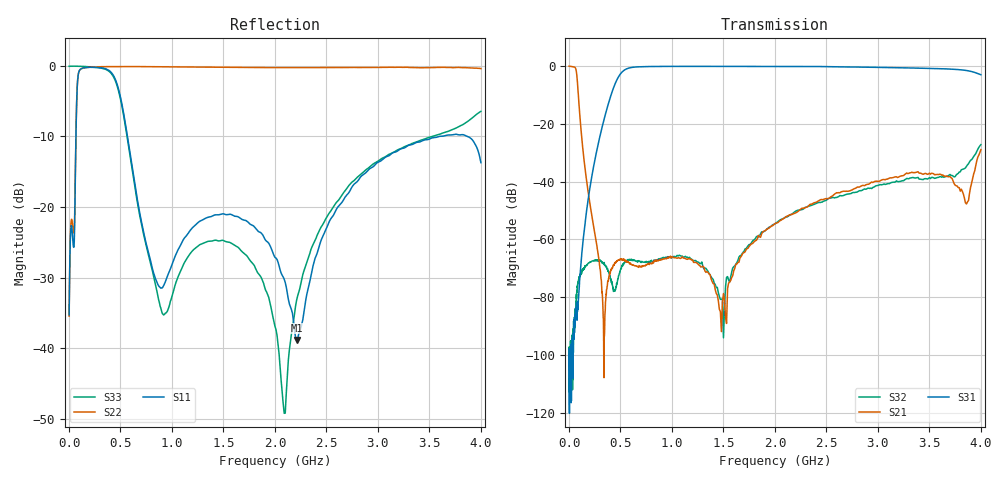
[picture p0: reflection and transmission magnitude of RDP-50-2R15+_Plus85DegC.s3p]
! Mini-Circuits
! S3P DATA File Format
! Type: Diplexer
! Model: RDP-50-2R15+
! PINOUT: Com=PORT1 , LP=PORT2 , HP=PORT3
! TEST CONDITIONS: INPUT POWER = 0 dBm @ Temperature = +85 deg C
! All S Parameters are in dB deg format
# MHz S dB R 50
!Frequency  S11 dB  S11 DEG  S12 dB  S12 DEG  S13 dB  S13 DEG
!  S21 dB  S21 DEG  S22 dB  S22 DEG  S23 dB  S23 DEG
!  S31 dB  S31 DEG  S32 dB  S32 DEG  S33 dB  S33 DEG
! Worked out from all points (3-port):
!   733 points, 1 MHz to 4 GHz, reference 50 ohm
!   strongest paths, dB at 1 MHz, 262 MHz, 670 MHz, 2.17 GHz, 4 GHz:
!     S31: -97.8, -30.6, -0.4, -0.3, -3.2
!     S21: -0.2, -60.4, -69.4, -51.3, -29.0
!     S32: -103.7, -67.1, -67.3, -51.1, -27.3
!   lowest |S11| = -38.8 dB at 2.21 GHz (marker M1), VSWR 1.02, Z = 49.5 + j1.03 ohm
!   |S11| at or under -10 dB: start of sweep to 67.23 MHz; 567.5 MHz to 3.595 GHz (3.027 GHz wide, 145 % of centre); 3.868 GHz to end of sweep
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1  -35.31 17.8  -0.20 -2.9  -99.29 -59.9
   -0.20 -2.9  -35.47 17.0  -100.84 -75.6
   -97.78 -113.3  -103.75 173.2  -0.05 -0.3
57  -20.36 -86.9  -0.59 -176.2  -86.51 163.4
    -0.59 -176.2  -19.41 -96.3  -85.25 178.7
    -89.51 -175.0  -88.21 -176.0  -0.03 -19.2
100  -0.69 79.7  -14.81 20.2  -75.93 101.4
     -14.80 20.3  -0.67 132.6  -72.88 135.0
     -76.34 102.9  -73.34 133.5  -0.04 -34.3
330  -0.31 -94.3  -84.02 -114.1  -20.01 -25.6
     -84.19 -115.1  -0.10 29.3  -68.19 38.8
     -20.01 -25.5  -67.98 40.1  -0.37 -128.8
492  -3.93 174.1  -66.95 -5.7  -3.23 -127.8
     -66.88 -6.0  -0.09 15.2  -71.52 106.3
     -3.22 -127.9  -71.56 102.8  -4.18 117.9
865  -31.04 -171.4  -67.36 175.6  -0.28 92.6
     -67.43 176.1  -0.12 -0.1  -67.04 92.6
     -0.29 92.7  -66.82 93.7  -32.79 -161.8
1480  -21.00 -131.9  -89.20 -165.4  -0.26 20.1
      -91.80 178.9  -0.20 -12.7  -80.68 149.0
      -0.27 20.2  -80.61 142.3  -24.74 -23.8
2010  -27.24 -170.6  -54.38 -101.5  -0.27 -15.7
      -54.39 -101.8  -0.24 -20.7  -54.36 -124.7
      -0.27 -15.7  -54.36 -124.5  -37.38 -82.7
2210  -38.85 114.3  -50.64 -105.8  -0.28 -27.1
      -50.64 -106.2  -0.24 -23.4  -50.03 -131.2
      -0.28 -27.1  -50.07 -130.9  -33.24 108.1
4000  -13.71 -116.6  -29.01 -54.3  -3.14 -110.2
      -29.01 -54.4  -0.38 -44.3  -27.29 -117.3
      -3.15 -110.2  -27.28 -117.2  -6.44 22.2
